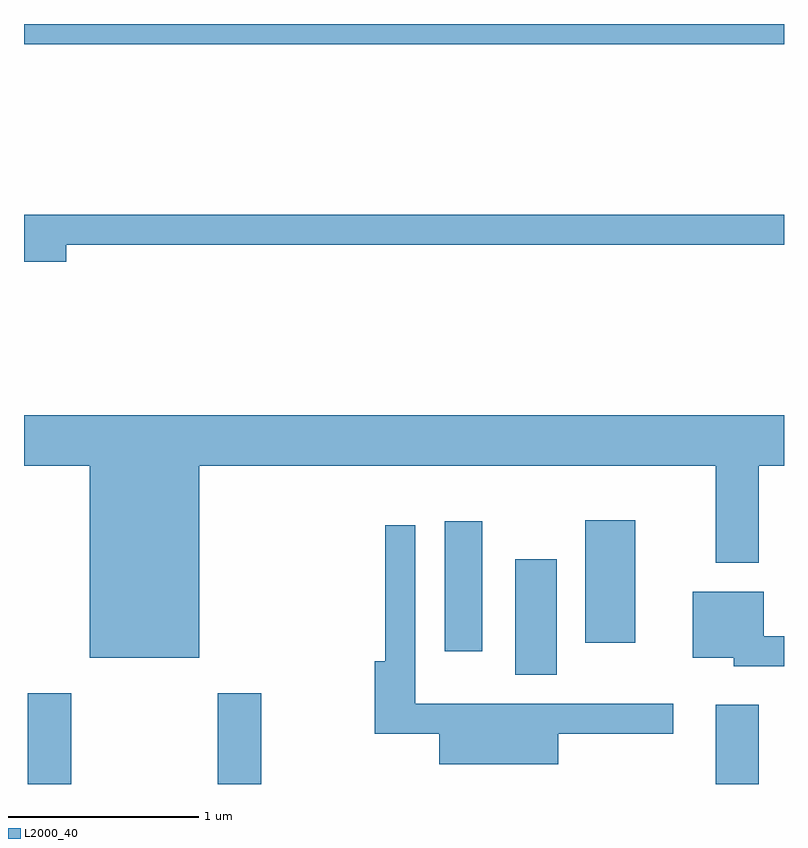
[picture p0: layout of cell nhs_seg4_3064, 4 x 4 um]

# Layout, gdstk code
import gdstk
lib = gdstk.Library(unit=1e-6, precision=1e-09)
def R(c, l, rs):  # rectangles x0, y0, x1, y1
    for r in rs: c.add(gdstk.rectangle(r[:2], r[2:], *l))
def P(c, l, *ps):  # polygons
    for p in ps: c.add(gdstk.Polygon(p, *l))
L2000_40 = (2000, 40)

nhs_seg4_3064 = lib.new_cell('nhs_seg4_3064')
R(nhs_seg4_3064, L2000_40, [(275.631,1261.982,275.859,1262.459), (276.631,1261.982,276.859,1262.459), (279.251,1261.982,279.479,1262.399), (278.196,1262.556,278.414,1263.164), (277.826,1262.681,278.024,1263.364), (278.566,1262.726,278.829,1263.369), (275.611,1265.876,279.611,1265.982)])
P(nhs_seg4_3064, L2000_40, [(275.834,1264.821),(279.611,1264.821),(279.611,1264.979),(275.611,1264.979),(275.611,1264.731),(275.834,1264.731)],
  [(276.534,1263.656),(279.251,1263.656),(279.251,1263.146),(279.479,1263.146),(279.479,1263.656),(279.611,1263.656),(279.611,1263.924),(275.611,1263.924),(275.611,1263.656),(275.956,1263.656),(275.956,1262.646),(276.534,1262.646)],
  [(278.424,1262.246),(279.028,1262.246),(279.028,1262.404),(277.669,1262.404),(277.669,1263.343),(277.511,1263.343),(277.511,1262.629),(277.456,1262.629),(277.456,1262.246),(277.796,1262.246),(277.796,1262.086),(278.424,1262.086)],
  [(279.611,1262.759),(279.504,1262.759),(279.504,1262.994),(279.131,1262.994),(279.131,1262.646),(279.346,1262.646),(279.346,1262.601),(279.611,1262.601)])

lib.write_gds('nhs_seg4_3064.gds')
